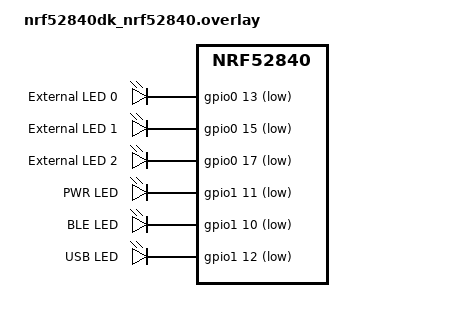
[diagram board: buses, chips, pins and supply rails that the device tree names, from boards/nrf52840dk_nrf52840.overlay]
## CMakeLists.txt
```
cmake_minimum_required(VERSION 3.20.0)

find_package(Zephyr REQUIRED HINTS $ENV{ZEPHYR_BASE})
project(Zephyr-VintageKeyboard)

target_sources(app PRIVATE
        src/main.c
        src/hw.c
        src/vinkey_usb.c
        src/vinkey_ble.c
        src/ax110keys.c)
```

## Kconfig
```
menu "Vintage Keyboard sample options"

config BT_NAME_SHORTENED
	string "Bluetooth advertisement short name"
	default "ElmVntKbd"

endmenu

source "Kconfig.zephyr"
```

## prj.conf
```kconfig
CONFIG_MAIN_STACK_SIZE=2048

CONFIG_USB_DEVICE_STACK_NEXT=y
CONFIG_CDC_ACM_SERIAL_INITIALIZE_AT_BOOT=n
CONFIG_USBD_HID_SUPPORT=y

CONFIG_LOG=y
CONFIG_USBD_LOG_LEVEL_WRN=y
CONFIG_USBD_HID_LOG_LEVEL_WRN=y
CONFIG_UDC_DRIVER_LOG_LEVEL_WRN=y

CONFIG_USE_SEGGER_RTT=y
CONFIG_RTT_CONSOLE=y
CONFIG_UART_CONSOLE=n
CONFIG_LOG_BACKEND_RTT=y

CONFIG_GPIO=y
CONFIG_INPUT=y
CONFIG_INPUT_MODE_SYNCHRONOUS=y

CONFIG_THREAD_NAME=y
CONFIG_THREAD_MONITOR=y

CONFIG_BT=y
CONFIG_BT_PERIPHERAL=y
CONFIG_BT_DEVICE_NAME="Elmot Vintage Kbd(AX110 Mod)"
CONFIG_BT_DEVICE_APPEARANCE=961
CONFIG_BT_SMP=y
CONFIG_BT_SETTINGS=y
CONFIG_FLASH=y
CONFIG_FLASH_MAP=y
CONFIG_NVS=y
CONFIG_SETTINGS=y
CONFIG_BT_DIS=y
CONFIG_BT_DIS_PNP=y
CONFIG_BT_DIS_MODEL_NUMBER_STR="0.2"
CONFIG_BT_DIS_MANUF_NAME_STR="Elmot.xyz"
CONFIG_BT_DIS_PNP_VID_SRC=1
CONFIG_BT_DIS_PNP_VID=0x16C0
CONFIG_BT_DIS_PNP_PID=0x27DB
CONFIG_BT_DIS_PNP_VER=0x0100
CONFIG_BT_KEYS_OVERWRITE_OLDEST=y
CONFIG_BT_SMP_ALLOW_UNAUTH_OVERWRITE=y
CONFIG_BT_BUF_CMD_TX_COUNT=10
CONFIG_BT_BUF_EVT_RX_COUNT=20
CONFIG_BT_L2CAP_TX_BUF_COUNT=5
CONFIG_BT_SMP_SC_ONLY=y

CONFIG_UDC_BUF_POOL_SIZE=2048
CONFIG_SYSTEM_WORKQUEUE_STACK_SIZE=4096
```

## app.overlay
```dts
/ {
	hid_dev_0: hid_dev_0 {
		compatible = "zephyr,hid-device";
		label = "HID0";
		protocol-code = "keyboard";
		in-report-size = <64>;
		in-polling-period-us = <1000>;
	};
};
```

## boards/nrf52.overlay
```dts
#include <zephyr/dt-bindings/input/input-event-codes.h>
#include <zephyr/dt-bindings/input/keymap.h>
#include "../hid.overlay"

&i2c1 {
	status = "okay";
	clock-frequency = <400000>;

	sx1509b: sx1509b@3e {
		compatible = "semtech,sx1509b";
		reg = <0x3e>;
		/* Optional interrupt and reset GPIOs — adjust per your wiring
		 * int-gpios = <&gpio0 11 GPIO_ACTIVE_LOW>;
		 * reset-gpios = <&gpio0 12 GPIO_ACTIVE_LOW>;
		 */
		label = "SX1509B";
		gpio-controller;
		#gpio-cells = <2>;
		ngpios = <16>;
	};
};

/ {

	/* Keyboard scan matrix on SX1509B: currently 3 rows x 2 cols enabled */
	kscan0: kscan {
		compatible = "gpio-kbd-matrix";
		/* Rows are inputs with pull-ups; active when driven low by a pressed key */
		row-gpios = <&sx1509b 8 (GPIO_ACTIVE_LOW | GPIO_PULL_UP)>,
					<&sx1509b 9 (GPIO_ACTIVE_LOW | GPIO_PULL_UP)>,
					<&sx1509b 10 (GPIO_ACTIVE_LOW | GPIO_PULL_UP)>,
					<&sx1509b 11 (GPIO_ACTIVE_LOW | GPIO_PULL_UP)>,
					<&sx1509b 12 (GPIO_ACTIVE_LOW | GPIO_PULL_UP)>,
					<&sx1509b 13 (GPIO_ACTIVE_LOW | GPIO_PULL_UP)>,
					<&sx1509b 14 (GPIO_ACTIVE_LOW | GPIO_PULL_UP)>,
					<&sx1509b 15 (GPIO_ACTIVE_LOW | GPIO_PULL_UP)>;
		/* Cols are outputs, driven low one at a time during scan */
		col-gpios = <&sx1509b 0 GPIO_ACTIVE_LOW>,
					<&sx1509b 1 GPIO_ACTIVE_LOW>,
					<&sx1509b 2 GPIO_ACTIVE_LOW>,
					<&sx1509b 3 GPIO_ACTIVE_LOW>,
					<&sx1509b 4 GPIO_ACTIVE_LOW>,
					<&sx1509b 5 GPIO_ACTIVE_LOW>,
					<&sx1509b 6 GPIO_ACTIVE_LOW>,
					<&sx1509b 7 GPIO_ACTIVE_LOW>;
		/* Use continuous scanning since GPIO expander interrupts may not be available */
		idle-mode = "scan";
		poll-period-ms = <0>;
		poll-timeout-ms = <0>;
		debounce-down-ms = <0>;
		debounce-up-ms = <0>;
	};

	aliases {
		caps-lock-led = &caps_lock_led;
		pwr-on-led = &pwr_on_led;
		ble-connected-led = &ble_connected_led;
		usb-connected-led = &usb_connected_led;
	};
};
```

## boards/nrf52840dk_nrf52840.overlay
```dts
#include <zephyr/dt-bindings/input/input-event-codes.h>
#include <zephyr/dt-bindings/input/keymap.h>
#include "../hid.overlay"

#include "nrf52.overlay"

/ {

	/* Create a grouping for your custom LEDs */
	ext_leds {
		compatible = "gpio-leds";

		caps_lock_led: caps_lock_led {
			gpios = <&gpio0 13 GPIO_ACTIVE_LOW>;
			label = "External LED 0";
		};

		ext_led1: led_1 {
			gpios = <&gpio0 15 GPIO_ACTIVE_LOW>;
			label = "External LED 1";
		};

		ext_led2: led_2 {
			gpios = <&gpio0 17 GPIO_ACTIVE_LOW>;
			label = "External LED 2";
		};

		pwr_on_led: pwr_on_led {
			gpios = <&gpio1 11 GPIO_ACTIVE_LOW>;
			label = "PWR LED";
		};

		ble_connected_led: ble_connected_led {
			gpios = <&gpio1 10 GPIO_ACTIVE_LOW>;
			label = "BLE LED";
		};

		usb_connected_led: usb_connected_led {
			gpios = <&gpio1 12 GPIO_ACTIVE_LOW>;
			label = "USB LED";
		};
	};
	
};
```

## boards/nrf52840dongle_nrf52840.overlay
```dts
#include <zephyr/dt-bindings/input/input-event-codes.h>
#include <zephyr/dt-bindings/input/keymap.h>
#include "../hid.overlay"

#include "nrf5x.overlay"

/ {

	/* Create a grouping for your custom LEDs */
	ext_leds {
		compatible = "gpio-leds";

		caps_lock_led: caps_lock_led {
			gpios = <&gpio0 13 GPIO_ACTIVE_LOW>;
			label = "Caps Lock LED";
		};

		pwr_on_led: pwr_on_led {
			gpios = <&gpio0 20 GPIO_ACTIVE_LOW>;
			label = "PWR LED";
		};

		ble_connected_led: ble_connected_led {
			gpios = <&gpio0 15 GPIO_ACTIVE_LOW>;
			label = "BLE LED";
		};

		usb_connected_led: usb_connected_led {
			gpios = <&gpio0 17 GPIO_ACTIVE_LOW>;
			label = "USB LED";
		};
	};

};

&pinctrl {
	i2c1_default: i2c1_default {
		group1 {
			psels = <NRF_PSEL(TWIM_SDA, 0, 29)>,
					<NRF_PSEL(TWIM_SCL, 0, 31)>;
		};
	};

	i2c1_sleep: i2c1_sleep {
		group1 {
			psels = <NRF_PSEL(TWIM_SDA, 0, 29)>,
					<NRF_PSEL(TWIM_SCL, 0, 31)>;
			low-power-enable;
		};
	};
};
```

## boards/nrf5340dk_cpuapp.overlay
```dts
#include <zephyr/dt-bindings/input/input-event-codes.h>
#include <zephyr/dt-bindings/input/keymap.h>
#include "../hid.overlay"

#include "nrf5x.overlay"

/ {

	/* Create a grouping for your custom LEDs */
	ext_leds {
		compatible = "gpio-leds";

		caps_lock_led: caps_lock_led {
			gpios = <&gpio1 14 GPIO_ACTIVE_LOW>;
			label = "External LED 0";
		};

		ext_led1: led_1 {
			gpios = <&gpio0 15 GPIO_ACTIVE_LOW>;
			label = "External LED 1";
		};

		ext_led2: led_2 {
			gpios = <&gpio0 17 GPIO_ACTIVE_LOW>;
			label = "External LED 2";
		};

		pwr_on_led: pwr_on_led {
			gpios = <&gpio1 10 GPIO_ACTIVE_LOW>;
			label = "PWR LED";
		};

		usb_connected_led: usb_connected_led {
			gpios = <&gpio1 11 GPIO_ACTIVE_LOW>;
			label = "USB LED";
		};

		ble_connected_led: ble_connected_led {
			gpios = <&gpio1 12 GPIO_ACTIVE_LOW>;
			label = "BLE LED";
		};
	};
	
};

&usbd {
	status = "okay";
};
```

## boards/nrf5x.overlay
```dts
#include <zephyr/dt-bindings/input/input-event-codes.h>
#include <zephyr/dt-bindings/input/keymap.h>
#include "../hid.overlay"

&i2c1 {
	status = "okay";
	clock-frequency = <400000>;

	sx1509b: sx1509b@3e {
		compatible = "semtech,sx1509b";
		reg = <0x3e>;
		/* Optional interrupt and reset GPIOs — adjust per your wiring
		 * int-gpios = <&gpio0 11 GPIO_ACTIVE_LOW>;
		 * reset-gpios = <&gpio0 12 GPIO_ACTIVE_LOW>;
		 */
		label = "SX1509B";
		gpio-controller;
		#gpio-cells = <2>;
		ngpios = <16>;
	};
};

/ {

	/* Keyboard scan matrix on SX1509B: currently 3 rows x 2 cols enabled */
	kscan0: kscan {
		compatible = "gpio-kbd-matrix";
		/* Rows are inputs with pull-ups; active when driven low by a pressed key */
		row-gpios = <&sx1509b 8 (GPIO_ACTIVE_LOW | GPIO_PULL_UP)>,
					<&sx1509b 9 (GPIO_ACTIVE_LOW | GPIO_PULL_UP)>,
					<&sx1509b 10 (GPIO_ACTIVE_LOW | GPIO_PULL_UP)>,
					<&sx1509b 11 (GPIO_ACTIVE_LOW | GPIO_PULL_UP)>,
					<&sx1509b 12 (GPIO_ACTIVE_LOW | GPIO_PULL_UP)>,
					<&sx1509b 13 (GPIO_ACTIVE_LOW | GPIO_PULL_UP)>,
					<&sx1509b 14 (GPIO_ACTIVE_LOW | GPIO_PULL_UP)>,
					<&sx1509b 15 (GPIO_ACTIVE_LOW | GPIO_PULL_UP)>;
		/* Cols are outputs, driven low one at a time during scan */
		col-gpios = <&sx1509b 0 GPIO_ACTIVE_LOW>,
					<&sx1509b 1 GPIO_ACTIVE_LOW>,
					<&sx1509b 2 GPIO_ACTIVE_LOW>,
					<&sx1509b 3 GPIO_ACTIVE_LOW>,
					<&sx1509b 4 GPIO_ACTIVE_LOW>,
					<&sx1509b 5 GPIO_ACTIVE_LOW>,
					<&sx1509b 6 GPIO_ACTIVE_LOW>,
					<&sx1509b 7 GPIO_ACTIVE_LOW>;
		/* Use continuous scanning since GPIO expander interrupts may not be available */
		idle-mode = "scan";
		poll-period-ms = <0>;
		poll-timeout-ms = <0>;
		debounce-down-ms = <1>;
		debounce-up-ms = <0>;
	};

	aliases {
		caps-lock-led = &caps_lock_led;
		pwr-on-led = &pwr_on_led;
		ble-connected-led = &ble_connected_led;
		usb-connected-led = &usb_connected_led;
		kscan = &kscan0;
	};
};
```

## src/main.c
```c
/*
 * Copyright (c) 2024 Nordic Semiconductor ASA
 *
 * SPDX-License-Identifier: Apache-2.0
 */

#include "main.h"

LOG_MODULE_REGISTER(main, LOG_LEVEL_INF);

#include <zephyr/dt-bindings/input/input-event-codes.h>

#define KEYS_PER_REPORT (6)

struct kb_report {
	uint8_t modifier;
	uint8_t reserved;
	uint8_t keys[KEYS_PER_REPORT];
} __packed;

struct kb_event {
	uint16_t code;
	int32_t value;
};

K_MSGQ_DEFINE(usb_msgq, sizeof(struct kb_report), 10, 4);
K_MSGQ_DEFINE(ble_msgq, sizeof(struct kb_report), 10, 4);

static struct kb_report report;

static const uint8_t hid_report_desc[] = HID_KEYBOARD_REPORT_DESC();

const struct device* hid_dev = DEVICE_DT_GET_ONE(zephyr_hid_device);
const struct device* kscan_dev = DEVICE_DT_GET(DT_ALIAS(kscan));

static void update_report(uint16_t code, int32_t value)
{
	uint8_t hid_code = input_to_hid(code, value);
	if (hid_code == 0) {
		return;
	}
	vinkey_ble_handle_key(hid_code, (bool)value);
	if (is_modifier(code)) {
		if (value) {
			report.modifier |= hid_code;
		} else {
			report.modifier &= ~hid_code;
		}
	} else {
		if (value) {
			/* Add to report */
			for (int i = 0; i < KEYS_PER_REPORT; i++) {
				if (report.keys[i] == 0) {
					report.keys[i] = hid_code;
					break;
				}
			}
		} else {
			/* Remove from report */
			for (int i = 0; i < KEYS_PER_REPORT; i++) {
				if (report.keys[i] == hid_code) {
					report.keys[i] = 0;
					/* Shift remaining keys left */
					for (int j = i; j < (KEYS_PER_REPORT-1); j++) {
						report.keys[j] = report.keys[j+1];
					}
					report.keys[KEYS_PER_REPORT - 1] = 0;
					break;
				}
			}
		}
	}
}
static uint32_t kb_duration;

static int matrix_row = -1;
static int matrix_col = -1;

static void input_cb(struct input_event *evt, void *user_data)
{
	ARG_UNUSED(user_data);

	if (evt->code == INPUT_ABS_X) {
		matrix_col = evt->value;
	} else if (evt->code == INPUT_ABS_Y) {
		matrix_row = evt->value;
	} else if (evt->code == INPUT_BTN_TOUCH) {
		if (matrix_row >= 0 && matrix_col >= 0) {
			uint16_t code = (matrix_row << 8) | matrix_col;

			update_report(code, evt->value);

			k_msgq_put(&usb_msgq, &report, K_NO_WAIT);
			k_msgq_put(&ble_msgq, &report, K_NO_WAIT);
		}
	}
}

INPUT_CALLBACK_DEFINE(NULL, input_cb, NULL);

static void kb_iface_ready(const struct device *dev, const bool ready)
{
	LOG_INF("HID device %s interface is %s",
		dev->name, ready ? "ready" : "not ready");
	usb_kb_ready = ready;
	update_connect_status();
}

static int kb_get_report(const struct device *dev,
			 const uint8_t type, const uint8_t id, const uint16_t len,
			 uint8_t *const buf)
{
	LOG_WRN("Get Report not implemented, Type %u ID %u", type, id);

	return 0;
}

int kb_set_report(const struct device *dev,
			 const uint8_t type, const uint8_t id, const uint16_t len,
			 const uint8_t *const buf)
{
	if (type != HID_REPORT_TYPE_OUTPUT) {
		LOG_WRN("Unsupported report type");
		return -ENOTSUP;
	}

	gpio_pin_set_dt(&caps_lock_led, buf[0] & (int)BIT(1));
	return 0;
}

/* Idle duration is stored but not used to calculate idle reports. */
static void kb_set_idle(const struct device *dev,
			const uint8_t id, const uint32_t duration)
{
	LOG_INF("Set Idle %u to %u", id, duration);
	kb_duration = duration;
}

static uint32_t kb_get_idle(const struct device *dev, const uint8_t id)
{
	LOG_INF("Get Idle %u to %u", id, kb_duration);
	return kb_duration;
}

static void kb_set_protocol(const struct device *dev, const uint8_t proto)
{
	LOG_INF("Protocol changed to %s",
		proto == 0U ? "Boot Protocol" : "Report Protocol");
}

void kb_output_report(const struct device *dev, const uint16_t len,
			     const uint8_t *const buf)
{
	LOG_HEXDUMP_DBG(buf, len, "o.r.");
	kb_set_report(dev, HID_REPORT_TYPE_OUTPUT, 0U, len, buf);
}

struct hid_device_ops kb_ops = {
	.iface_ready = kb_iface_ready,
	.get_report = kb_get_report,
	.set_report = kb_set_report,
	.set_idle = kb_set_idle,
	.get_idle = kb_get_idle,
	.set_protocol = kb_set_protocol,
	.output_report = kb_output_report,
};

typedef int (*send_report_fn)(const uint8_t *report);

static _Noreturn void kb_usb_send_task(void *p1, void *p2, void *p3)
{
	static struct kb_report queued_report;

	while (true) {
		k_msgq_get(&usb_msgq, &queued_report, K_FOREVER);
		if (usb_kb_ready) {
			hid_device_submit_report(hid_dev, sizeof(struct kb_report), (uint8_t *)&queued_report);
		}
	}
}

static _Noreturn void kb_ble_send_task(void *p1, void *p2, void *p3)
{
	static struct kb_report queued_report;

	while (true) {
		k_msgq_get(&ble_msgq, &queued_report, K_FOREVER);
		vinkey_ble_send_report((uint8_t *)&queued_report, sizeof(struct kb_report));
	}
}

K_THREAD_DEFINE(usb_task_tid, 1024, kb_usb_send_task, NULL, NULL, NULL, 7, 0, 0);
K_THREAD_DEFINE(ble_task_tid, 1024, kb_ble_send_task, NULL, NULL, NULL, 7, 0, 0);

int main(void)
{
	init_hardware();
	if (!device_is_ready(hid_dev)) {
		LOG_ERR("HID Device is not ready");
		failure();
	}

	if (!device_is_ready(kscan_dev)) {
		LOG_ERR("Kscan Device is not ready");
		key_scan_failure();
	}

	int ret = hid_device_register(hid_dev,
	                              hid_report_desc, sizeof(hid_report_desc),
	                              &kb_ops);
	if (ret != 0) {
		LOG_ERR("Failed to register HID Device, %d", ret);
		failure();
	}

	if (IS_ENABLED(CONFIG_USBD_HID_SET_POLLING_PERIOD)) {
		ret = hid_device_set_in_polling(hid_dev, 1000);
		if (ret) {
			LOG_WRN("Failed to set IN report polling period, %d", ret);
		}

		ret = hid_device_set_out_polling(hid_dev, 1000);
		if (ret != 0 && ret != -ENOTSUP) {
			LOG_WRN("Failed to set OUT report polling period, %d", ret);
		}
	}

	vinkey_ble_init();
	vinkey_usb_init();
	LOG_INF("HID keyboard is initialized");

	return 0;
}
```

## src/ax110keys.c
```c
#include <stdbool.h>
#include <stdint.h>

#include "zephyr/usb/class/hid.h"

static bool blueAlt = false;

uint8_t input_to_hid(uint16_t code, int32_t value)
{
    int hid_code = 0;
    switch (code)
    {
    case 0x2:
        blueAlt = (bool)value;
        hid_code = 0;
        break;
    case 0x207: hid_code = HID_KEY_TAB;
        break; //L IND
    case 0x702: hid_code = HID_KEY_1;
        break;
    case 0x602: hid_code = HID_KEY_2;
        break;
    case 0x703: hid_code = HID_KEY_3;
        break;
    case 0x603: hid_code = HID_KEY_4;
        break;
    case 0x705: hid_code = HID_KEY_5;
        break;
    case 0x605: hid_code = HID_KEY_6;
        break;
    case 0x704: hid_code = HID_KEY_7;
        break;
    case 0x604: hid_code = HID_KEY_8;
        break;
    case 0x707: hid_code = HID_KEY_9;
        break;
    case 0x607: hid_code = HID_KEY_0;
        break;
    case 0x706: hid_code = HID_KEY_SLASH;
        break;
    case 0x606: hid_code = HID_KEY_GRAVE;
        break;
    case 0x103: hid_code = HID_KEY_PAGEUP;
        break; //RELOC
    case 0x102: hid_code = HID_KEY_PAGEDOWN;
        break; //INDEX
    case 0x501: hid_code = HID_KEY_Q;
        break;
    case 0x301: hid_code = HID_KEY_W;
        break;
    case 0x502: hid_code = HID_KEY_E;
        break;
    case 0x302: hid_code = HID_KEY_R;
        break;
    case 0x503: hid_code = HID_KEY_T;
        break;
    case 0x303: hid_code = HID_KEY_Y;
        break;
    case 0x505: hid_code = HID_KEY_U;
        break;
    case 0x305: hid_code = HID_KEY_I;
        break;
    case 0x504: hid_code = HID_KEY_O;
        break;
    case 0x304: hid_code = HID_KEY_P;
        break;
    case 0x500: hid_code = HID_KEY_LEFTBRACE;
        break; //Ring A(Swedish OO)
    case 0x300: hid_code = HID_KEY_RIGHTBRACE;
        break; // U umlaut
    case 0x105: hid_code = HID_KEY_BACKSPACE;
        break;
    case 0x01: hid_code = HID_KEY_CAPSLOCK;
        break;
    case 0x201: hid_code = HID_KEY_A;
        break;
    case 0x404: hid_code = HID_KEY_S;
        break;
    case 0x204: hid_code = HID_KEY_D;
        break;
    case 0x402: hid_code = HID_KEY_F;
        break;
    case 0x202: hid_code = HID_KEY_G;
        break;
    case 0x403: hid_code = HID_KEY_H;
        break;
    case 0x203: hid_code = HID_KEY_J;
        break;
    case 0x405: hid_code = HID_KEY_K;
        break;
    case 0x205: hid_code = HID_KEY_L;
        break;
    case 0x400: hid_code = HID_KEY_SEMICOLON;
        break; // O umlaut
    case 0x200: hid_code = HID_KEY_APOSTROPHE;
        break; //A umlaut
    case 0x601: hid_code = HID_KEY_BACKSLASH;
        break; //*
    case 0x101: hid_code = HID_KEY_ENTER;
        break;
    case 0x401: hid_code = HID_KEY_Z;
        break;
    case 0x406: hid_code = HID_KEY_X;
        break;
    case 0x407: hid_code = HID_KEY_C;
        break;
    case 0x507: hid_code = HID_KEY_V;
        break;
    case 0x307: hid_code = HID_KEY_B;
        break;
    case 0x506: hid_code = HID_KEY_N;
        break;
    case 0x306: hid_code = HID_KEY_M;
        break;
    case 0x700: hid_code = HID_KEY_COMMA;
        break;
    case 0x600: hid_code = HID_KEY_DOT;
        break;
    case 0x701: hid_code = HID_KEY_MINUS;
        break;
    case 0x00: hid_code = HID_KBD_MODIFIER_RIGHT_SHIFT;
        break; //Both shifts
    case 0x107: hid_code = HID_KBD_MODIFIER_LEFT_CTRL;
        break; //Green CODE
    case 0x104: hid_code = HID_KBD_MODIFIER_LEFT_ALT;
        break; // WORD OUT
    case 0x100: hid_code = HID_KEY_SPACE;
        break;
    case 0x106: hid_code = HID_KEY_DELETE;
        break; // delete or R ALT?
    default: hid_code = 0;
    }
    if (blueAlt)
    {
        switch (hid_code)
        {
        case HID_KEY_TAB: hid_code = HID_KEY_ESC;//L IND
            break;
        case HID_KEY_1: hid_code = HID_KEY_F1;
            break;
        case HID_KEY_2: hid_code = HID_KEY_F2;
            break;
        case HID_KEY_3: hid_code = HID_KEY_F3;
            break;
        case HID_KEY_4: hid_code = HID_KEY_F4;
            break;
        case HID_KEY_5: hid_code = HID_KEY_F5;
            break;
        case HID_KEY_6: hid_code = HID_KEY_F6;
            break;
        case HID_KEY_7: hid_code = HID_KEY_F7;
            break;
        case HID_KEY_8: hid_code = HID_KEY_F8;
            break;
        case HID_KEY_9: hid_code = HID_KEY_F9;
            break;
        case HID_KEY_0: hid_code = HID_KEY_F10;
            break;
        case HID_KEY_SLASH: hid_code = HID_KEY_F11;
            break;
        case HID_KEY_GRAVE: hid_code = HID_KEY_F12;
            break;
        case HID_KEY_PAGEUP: hid_code = HID_KEY_HOME;//RELOC
            break;
        case HID_KEY_PAGEDOWN: hid_code = HID_KEY_END;//INDEX
            break;
        case HID_KEY_W: hid_code = HID_KEY_UP;
            break;
        case HID_KEY_A: hid_code = HID_KEY_LEFT;
            break;
        case HID_KEY_S: hid_code = HID_KEY_DOWN;
            break;
        case HID_KEY_D: hid_code = HID_KEY_RIGHT;
            break;
        case HID_KEY_V: hid_code = HID_KEY_HASH;
            break;
        }
    }
    return hid_code;
}

bool is_modifier(uint16_t code)
{
    switch (code)
    {
    //case 0x2: return HID_KEY_ALT; must be modifying other buttons
    //	case 0x103: return HID_KEY_RELOC
    //	case 0x102: return HID_KEY_INDEX
    //    case 0x106:// delete or R ALT?
    case 0x00: //Both shifts
    case 0x107: //Green CODE
    case 0x104: // WORD OUT
        return true;
    default: return false;
    }
}
```

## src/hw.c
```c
#include "main.h"

const struct gpio_dt_spec caps_lock_led = GPIO_DT_SPEC_GET(DT_ALIAS(caps_lock_led), gpios);
const struct gpio_dt_spec pwr_on_led = GPIO_DT_SPEC_GET(DT_ALIAS(pwr_on_led), gpios);
const struct gpio_dt_spec ble_connected_led = GPIO_DT_SPEC_GET(DT_ALIAS(ble_connected_led), gpios);
const struct gpio_dt_spec usb_connected_led = GPIO_DT_SPEC_GET(DT_ALIAS(usb_connected_led), gpios);

LOG_MODULE_REGISTER(hw, LOG_LEVEL_INF);

static void busy_wait_cycles(uint32_t cycles)
{
    // Simple busy-wait loop
    // Each iteration takes approximately 4 cycles (load, decrement, compare, branch)
    for (volatile uint32_t i = 0; i < cycles / 4; i++)
    {
        __asm__ volatile ("nop");
    }
}

static void busy_wait_ms(uint32_t ms)
{
    // At 32MHz: 32,000 cycles per millisecond
    uint32_t cycles = ms * 32000;
    busy_wait_cycles(cycles);
}

_Noreturn void failure()
{
    gpio_pin_set_dt(&pwr_on_led, false);
    gpio_pin_set_dt(&usb_connected_led, false);
    gpio_pin_set_dt(&ble_connected_led, false);

    while (true)
    {
        //RED SOS pattern
        for (int i = 0; i < 3; i++)
        {
            gpio_pin_set_dt(&usb_connected_led, true);
            busy_wait_ms(100);
            gpio_pin_set_dt(&usb_connected_led, false);
            busy_wait_ms(100);
        }
        busy_wait_ms(200);
        for (int i = 0; i < 3; i++)
        {
            gpio_pin_set_dt(&usb_connected_led, true);
            busy_wait_ms(200);
            gpio_pin_set_dt(&usb_connected_led, false);
            busy_wait_ms(200);
        }
        busy_wait_ms(200);
    }
}

_Noreturn void key_scan_failure()
{
    while (true)
    {
        gpio_pin_set_dt(&pwr_on_led, false);
        gpio_pin_set_dt(&usb_connected_led, true);
        gpio_pin_set_dt(&ble_connected_led, false);

        busy_wait_ms(250);
        gpio_pin_set_dt(&pwr_on_led, false);
        gpio_pin_set_dt(&usb_connected_led, true);
        gpio_pin_set_dt(&ble_connected_led, true);
        busy_wait_ms(500);
        gpio_pin_set_dt(&pwr_on_led, false);
        gpio_pin_set_dt(&usb_connected_led, false);
        gpio_pin_set_dt(&ble_connected_led, true);
        busy_wait_ms(250);
    }
}


#ifdef NRF52840_XXAA
/**
 * @brief Ensures that the output voltage is set to the specified value.
 *
 * This method checks whether the REGOUT0 configuration corresponds to the specified voltage.
 * If the configuration differs, it reconfigures the voltage setting in the UICR (User Information Configuration Registers),
 * programs the change, and resets the system to apply the new setting.
 *
 * Available UICR_REGOUT0_VOUT values:
 * - UICR_REGOUT0_VOUT_1V8  (0) - 1.8V
 * - UICR_REGOUT0_VOUT_2V1  (1) - 2.1V
 * - UICR_REGOUT0_VOUT_2V4  (2) - 2.4V
 * - UICR_REGOUT0_VOUT_2V7  (3) - 2.7V
 * - UICR_REGOUT0_VOUT_3V0  (4) - 3.0V
 * - UICR_REGOUT0_VOUT_3V3  (5) - 3.3V
 *
 * @param voltage The desired output voltage to be configured. The value should match the UICR register's expected format.
 */
static void ensure_voltage(unsigned long voltage)
{
    // Check if REGOUT0 is NOT correct
    if ((NRF_UICR->REGOUT0 & UICR_REGOUT0_VOUT_Msk) !=
        (voltage << UICR_REGOUT0_VOUT_Pos))
    {
        // Enable Write to NVMC
        NRF_NVMC->CONFIG = NVMC_CONFIG_WEN_Wen;
        while (NRF_NVMC->READY == NVMC_READY_READY_Busy)
        {
        }

        // Set REGOUT0 to 3.0V
        NRF_UICR->REGOUT0 = (NRF_UICR->REGOUT0 & ~UICR_REGOUT0_VOUT_Msk) |
            (voltage << UICR_REGOUT0_VOUT_Pos);

        NRF_NVMC->CONFIG = NVMC_CONFIG_WEN_Ren;
        while (NRF_NVMC->READY == NVMC_READY_READY_Busy)
        {
        }

        // A System Reset is required for the change to take effect
        NVIC_SystemReset();
    }
}
#endif

#ifdef NRF5340_XXAA_APPLICATION
/**
 * @brief Ensures that the output voltage is set to the specified value.
 *
 * This method checks whether the VREGHVOUT configuration corresponds to the specified voltage.
 * If the configuration differs, it reconfigures the voltage setting in the UICR (User Information Configuration Registers),
 * programs the change, and resets the system to apply the new setting.
 *
 * Available UICR_VREGHVOUT_VREGHVOUT values for nRF5340:
 * - UICR_VREGHVOUT_VREGHVOUT_1V8  (0) - 1.8V
 * - UICR_VREGHVOUT_VREGHVOUT_2V1  (1) - 2.1V
 * - UICR_VREGHVOUT_VREGHVOUT_2V4  (2) - 2.4V
 * - UICR_VREGHVOUT_VREGHVOUT_2V7  (3) - 2.7V
 * - UICR_VREGHVOUT_VREGHVOUT_3V0  (4) - 3.0V
 * - UICR_VREGHVOUT_VREGHVOUT_3V3  (5) - 3.3V
 *
 * @param voltage The desired output voltage to be configured. The value should match the UICR register's expected format.
 */
static void ensure_voltage(unsigned long voltage)
{
    // Check if VREGHVOUT is NOT correct
    if ((NRF_UICR->VREGHVOUT & UICR_VREGHVOUT_VREGHVOUT_Msk) !=
        (voltage << UICR_VREGHVOUT_VREGHVOUT_Pos))
    {
        // Enable Write to NVMC
        NRF_NVMC->CONFIG = NVMC_CONFIG_WEN_Wen;
        while (NRF_NVMC->READY == NVMC_READY_READY_Busy)
        {
        }

        // Set VREGHVOUT to the desired voltage
        NRF_UICR->VREGHVOUT = (NRF_UICR->VREGHVOUT & ~UICR_VREGHVOUT_VREGHVOUT_Msk) |
            (voltage << UICR_VREGHVOUT_VREGHVOUT_Pos);

        NRF_NVMC->CONFIG = NVMC_CONFIG_WEN_Ren;
        while (NRF_NVMC->READY == NVMC_READY_READY_Busy)
        {
        }

        // A System Reset is required for the change to take effect
        NVIC_SystemReset();
    }
}
#endif


static int prepare_led(const struct gpio_dt_spec* led, bool active)
{
    if (!gpio_is_ready_dt(led))
    {
        LOG_ERR("LED device %s is not ready", led->port->name);
        return -EIO;
    }

    int ret = gpio_pin_configure_dt(led, active ? GPIO_OUTPUT_ACTIVE : GPIO_OUTPUT_INACTIVE);
    if (ret != 0)
    {
        LOG_ERR("Failed to configure the %s pin, %d", led->port->name, ret);
        return -EIO;
    }
    return 0;
}


void init_hardware()
{
#ifdef NRF52840_XXAA
    ensure_voltage(UICR_REGOUT0_VOUT_3V0);
#endif
#ifdef NRF5340_XXAA_APPLICATION
    ensure_voltage(UICR_VREGHVOUT_VREGHVOUT_3V0);
#endif


    prepare_led(&pwr_on_led, true);
    prepare_led(&caps_lock_led, false);
    prepare_led(&ble_connected_led, false);
    prepare_led(&usb_connected_led, false);

}

void update_connect_status()
{
    gpio_pin_set_dt(&usb_connected_led, usb_kb_ready);
    gpio_pin_set_dt(&ble_connected_led, ble_kb_ready);
    gpio_pin_set_dt(&pwr_on_led, !(ble_kb_ready || usb_kb_ready));
}

_Noreturn void arch_system_halt(unsigned int reason)
{
    ARG_UNUSED(reason);
    failure();
}
```

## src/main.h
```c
#pragma once

#include <zephyr/device.h>
#include <zephyr/drivers/gpio.h>
#include <zephyr/input/input.h>

#include <zephyr/usb/usbd.h>
#include <zephyr/usb/class/usbd_hid.h>

#include <zephyr/logging/log.h>

extern const struct gpio_dt_spec caps_lock_led;
extern const struct gpio_dt_spec pwr_on_led;
extern const struct gpio_dt_spec ble_connected_led;
extern const struct gpio_dt_spec usb_connected_led;

_Noreturn void failure();
_Noreturn void key_scan_failure();
void init_hardware();

typedef void (*vinkey_ble_output_report_cb_t)(const uint8_t *report, uint16_t len);
void vinkey_ble_init();
void vinkey_ble_send_report(const uint8_t *report, uint16_t len);
void vinkey_ble_handle_key(uint8_t hid_code, bool pressed);

extern volatile bool ble_kb_ready;
extern volatile bool usb_kb_ready;

void update_connect_status();

int kb_set_report(const struct device *dev,
             uint8_t type, uint8_t id, uint16_t len,
             const uint8_t * buf);

uint8_t input_to_hid(uint16_t code, int32_t value);
bool is_modifier(uint16_t code);

void vinkey_usb_init();
```

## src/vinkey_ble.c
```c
#include <zephyr/types.h>
#include <stddef.h>
#include <string.h>
#include <zephyr/kernel.h>
#include <zephyr/bluetooth/bluetooth.h>
#include <zephyr/bluetooth/hci.h>
#include <zephyr/bluetooth/conn.h>
#include <zephyr/bluetooth/uuid.h>
#include <zephyr/bluetooth/gatt.h>
#include <zephyr/usb/class/hid.h>
#include <zephyr/logging/log.h>
#include <zephyr/settings/settings.h>


#include "main.h"

#include "zephyr/usb/class/usbd_hid.h"

LOG_MODULE_REGISTER(vinkey_ble, LOG_LEVEL_INF);

#define HIDS_NORMALLY_CONNECTABLE BIT(1)

struct hids_info {
	uint16_t version;
	uint8_t code;
	uint8_t flags;
} __packed;

struct hids_report {
	uint8_t id;
	uint8_t type;
} __packed;

static struct hids_info info = {
	.version = 0x0111,
	.code = 0x00,
	.flags = HIDS_NORMALLY_CONNECTABLE,
};

enum {
	HIDS_INPUT = 0x01,
	HIDS_OUTPUT = 0x02,
	HIDS_FEATURE = 0x03,
};

static struct hids_report input_report_ref = {
	.id = 0x00,
	.type = HIDS_INPUT,
};

static struct hids_report output_report_ref = {
	.id = 0x00,
	.type = HIDS_OUTPUT,
};

static const uint8_t report_map[] = HID_KEYBOARD_REPORT_DESC();

static ssize_t read_info(struct bt_conn *conn,
			  const struct bt_gatt_attr *attr, void *buf,
			  uint16_t len, uint16_t offset)
{
	return bt_gatt_attr_read(conn, attr, buf, len, offset, attr->user_data,
				 sizeof(struct hids_info));
}

static ssize_t read_report_map(struct bt_conn *conn,
			       const struct bt_gatt_attr *attr, void *buf,
			       uint16_t len, uint16_t offset)
{
	return bt_gatt_attr_read(conn, attr, buf, len, offset, report_map,
				 sizeof(report_map));
}

static ssize_t read_report_ref(struct bt_conn *conn,
			   const struct bt_gatt_attr *attr, void *buf,
			   uint16_t len, uint16_t offset)
{
	return bt_gatt_attr_read(conn, attr, buf, len, offset, attr->user_data,
				 sizeof(struct hids_report));
}

static void input_ccc_changed(const struct bt_gatt_attr *attr, uint16_t value)
{
	LOG_INF("HIDS input CCC changed: %u", value);
}

static ssize_t read_input_report(struct bt_conn *conn,
				 const struct bt_gatt_attr *attr, void *buf,
				 uint16_t len, uint16_t offset)
{
	return bt_gatt_attr_read(conn, attr, buf, len, offset, NULL, 0);
}

static ssize_t write_output_report(struct bt_conn *conn,
				  const struct bt_gatt_attr *attr,
				  const void *buf, uint16_t len, uint16_t offset,
				  uint8_t flags)
{
	LOG_INF("HIDS output report write: len %u", len);

	kb_set_report(NULL, HID_REPORT_TYPE_OUTPUT, 0, len, buf);

	return len;
}

BT_GATT_SERVICE_DEFINE(kbd_svc,
	BT_GATT_PRIMARY_SERVICE(BT_UUID_HIDS),
	BT_GATT_CHARACTERISTIC(BT_UUID_HIDS_INFO, BT_GATT_CHRC_READ,
			       BT_GATT_PERM_READ, read_info, NULL, &info),
	BT_GATT_CHARACTERISTIC(BT_UUID_HIDS_REPORT_MAP, BT_GATT_CHRC_READ,
			       BT_GATT_PERM_READ, read_report_map, NULL, NULL),
	BT_GATT_CHARACTERISTIC(BT_UUID_HIDS_REPORT,
			       BT_GATT_CHRC_READ | BT_GATT_CHRC_NOTIFY,
			       BT_GATT_PERM_READ_ENCRYPT,
			       read_input_report, NULL, NULL),
	BT_GATT_CCC(input_ccc_changed,
		    BT_GATT_PERM_READ_ENCRYPT | BT_GATT_PERM_WRITE_ENCRYPT),
	BT_GATT_DESCRIPTOR(BT_UUID_HIDS_REPORT_REF, BT_GATT_PERM_READ,
			   read_report_ref, NULL, &input_report_ref),
	BT_GATT_CHARACTERISTIC(BT_UUID_HIDS_REPORT,
			       BT_GATT_CHRC_READ | BT_GATT_CHRC_WRITE |
			       BT_GATT_CHRC_WRITE_WITHOUT_RESP,
			       BT_GATT_PERM_READ_ENCRYPT |
			       BT_GATT_PERM_WRITE_ENCRYPT,
			       read_input_report, write_output_report, NULL),
	BT_GATT_DESCRIPTOR(BT_UUID_HIDS_REPORT_REF, BT_GATT_PERM_READ,
			   read_report_ref, NULL, &output_report_ref),
);

static const struct bt_data ad[] = {
	BT_DATA_BYTES(BT_DATA_GAP_APPEARANCE,

			  (CONFIG_BT_DEVICE_APPEARANCE >> 0) & 0xff,
			  (CONFIG_BT_DEVICE_APPEARANCE >> 8) & 0xff),
	BT_DATA_BYTES(BT_DATA_FLAGS, (BT_LE_AD_GENERAL | BT_LE_AD_NO_BREDR)),
	BT_DATA_BYTES(BT_DATA_UUID16_ALL, BT_UUID_16_ENCODE(BT_UUID_HIDS_VAL))
};

static const struct bt_data sd[] = {
	BT_DATA(BT_DATA_NAME_COMPLETE, CONFIG_BT_DEVICE_NAME, (sizeof(CONFIG_BT_DEVICE_NAME) - 1)),
};

static struct bt_conn *current_conn;

volatile bool ble_kb_ready = false;


static void connected(struct bt_conn *conn, uint8_t err)
{
	char addr[BT_ADDR_LE_STR_LEN];

	bt_addr_le_to_str(bt_conn_get_dst(conn), addr, sizeof(addr));

	if (err) {
		LOG_ERR("Failed to connect to %s (%u)", addr, err);
		return;
	}

	LOG_INF("Connected %s", addr);
	current_conn = bt_conn_ref(conn);
	ble_kb_ready = true;
	update_connect_status();
}

bool advertising_start()
{
	bt_le_adv_stop();
	const int err = bt_le_adv_start(BT_LE_ADV_CONN_FAST_1, ad, ARRAY_SIZE(ad), sd,ARRAY_SIZE(sd));
	if (err) {
		LOG_ERR("Advertising failed to start (err %d)", err);
		failure();
	}

	LOG_INF("Advertising successfully started");
	return false;
}


static void disconnected(struct bt_conn *conn, uint8_t reason)
{
	char addr[BT_ADDR_LE_STR_LEN];

	bt_addr_le_to_str(bt_conn_get_dst(conn), addr, sizeof(addr));

	LOG_INF("Disconnected from %s (reason %x)", addr, reason);
	if (current_conn == conn) {
		bt_conn_unref(current_conn);
		current_conn = NULL;
	}
}

static void security_changed(struct bt_conn *conn, bt_security_t level,
			     enum bt_security_err err)
{
	char addr[BT_ADDR_LE_STR_LEN];

	bt_addr_le_to_str(bt_conn_get_dst(conn), addr, sizeof(addr));

	if (!err) { // NOLINT(*-branch-clone)
		LOG_INF("Security changed: %s level %u", addr, level);
	} else {
		LOG_ERR("Security failed: %s level %u err %d", addr, level, err);
	}
}

void conn_recycled()
{
	ble_kb_ready = false;
	update_connect_status();
	advertising_start();
}

BT_CONN_CB_DEFINE(conn_callbacks) = {
	.connected = connected,
	.disconnected = disconnected,
	.security_changed = security_changed,
	.recycled = conn_recycled,
};

static uint32_t passkey_entered;
static uint8_t passkey_digit_count;
static bool passkey_entry_mode;

static void auth_passkey_display(struct bt_conn *conn, unsigned int passkey)
{
	char addr[BT_ADDR_LE_STR_LEN];

	bt_addr_le_to_str(bt_conn_get_dst(conn), addr, sizeof(addr));

	LOG_INF("Passkey for %s: %06u", addr, passkey);
}

static void auth_passkey_entry(struct bt_conn *conn)
{
	char addr[BT_ADDR_LE_STR_LEN];

	bt_addr_le_to_str(bt_conn_get_dst(conn), addr, sizeof(addr));

	LOG_INF("Enter passkey for %s", addr);
	passkey_entered = 0;
	passkey_digit_count = 0;
	passkey_entry_mode = true;
}

static void auth_cancel(struct bt_conn *conn)
{
	char addr[BT_ADDR_LE_STR_LEN];

	bt_addr_le_to_str(bt_conn_get_dst(conn), addr, sizeof(addr));

	LOG_INF("Pairing cancelled: %s", addr);
	passkey_entry_mode = false;
}

static struct bt_conn_auth_cb auth_cb_display = {
	.passkey_display = auth_passkey_display,
	.passkey_entry = auth_passkey_entry,
	.cancel = auth_cancel,
};

void vinkey_ble_handle_key(uint8_t hid_code, bool pressed)
{
	if (!pressed || !passkey_entry_mode || !current_conn) {
		return;
	}

	if (hid_code >= HID_KEY_1 && hid_code <= HID_KEY_0) {
		/* Numbers 1-9 then 0 */
		uint8_t digit;
		if (hid_code == HID_KEY_0) {
			digit = 0;
		} else {
			digit = hid_code - HID_KEY_1 + 1;
		}

		if (passkey_digit_count < 6) {
			passkey_entered = passkey_entered * 10 + digit;
			passkey_digit_count++;
			LOG_INF("Passkey digit entered: %u (total: %u)", digit, passkey_entered);
		}
	} else if (hid_code == HID_KEY_ENTER) {
		/* Enter */
		LOG_INF("Passkey submitted: %06u", passkey_entered);
		bt_conn_auth_passkey_entry(current_conn, passkey_entered);
		passkey_entry_mode = false;
	} else if (hid_code == HID_KEY_BACKSPACE) {
		/* Backspace */
		if (passkey_digit_count > 0) {
			passkey_entered /= 10;
			passkey_digit_count--;
			LOG_INF("Passkey digit removed (total: %u)", passkey_entered);
		}
	}
}

void vinkey_ble_init()
{
	int err;

	err = bt_enable(NULL);
	if (err) {
		LOG_ERR("Bluetooth init failed (err %d)", err);
		failure();
	}

	LOG_INF("Bluetooth initialized");

	if (IS_ENABLED(CONFIG_SETTINGS)) {
		settings_load();
	}

	bt_conn_auth_cb_register(&auth_cb_display);

	advertising_start();
}

void vinkey_ble_send_report(const uint8_t *report, uint16_t len)
{
	/* Index 6 is the report characteristic value in kbd_svc */
	bt_gatt_notify(NULL, &kbd_svc.attrs[6], report, len);
}
```

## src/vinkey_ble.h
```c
#pragma once

#include <stdint.h>

typedef void (*vinkey_ble_output_report_cb_t)(const uint8_t *report, uint16_t len);
void vinkey_ble_init();
void vinkey_ble_send_report(const uint8_t *report, uint16_t len);
void vinkey_ble_handle_key(uint8_t hid_code, bool pressed);

int kb_set_report(const struct device *dev,
             uint8_t type, uint8_t id, uint16_t len,
             const uint8_t * buf);
```

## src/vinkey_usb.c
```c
/*
 * Copyright (c) 2023 Nordic Semiconductor ASA
 *
 * SPDX-License-Identifier: Apache-2.0
 */

#include "main.h"
#include <zephyr/usb/usbd.h>

#include <zephyr/logging/log.h>
LOG_MODULE_REGISTER(usbd_vinkey_config);

/* By default, do not register the USB DFU class DFU mode instance. */
static const char* const blocklist[] = {
    "dfu_dfu",
    NULL,
};

#define CONFIG_VINKEY_USBD_VID (CONFIG_BT_DIS_PNP_VID)
#define CONFIG_VINKEY_USBD_PID (CONFIG_BT_DIS_PNP_PID)
#define CONFIG_SAMPLE_USBD_MAX_POWER (125)

/*
 * Instantiate a context named vinkey_usbd using the default USB device
 * controller, the project vendor ID, and the product ID.
 */
USBD_DEVICE_DEFINE(vinkey_usbd,
                   DEVICE_DT_GET(DT_NODELABEL(zephyr_udc0)),
                   CONFIG_VINKEY_USBD_VID, CONFIG_VINKEY_USBD_PID);

USBD_DESC_LANG_DEFINE(vinkey_lang);
USBD_DESC_MANUFACTURER_DEFINE(vinkey_mfr, CONFIG_BT_DIS_MANUF_NAME_STR);
USBD_DESC_PRODUCT_DEFINE(vinkey_product, CONFIG_BT_DEVICE_NAME "[USB]");
IF_ENABLED(CONFIG_HWINFO, (USBD_DESC_SERIAL_NUMBER_DEFINE(vinkey_sn)));

USBD_DESC_CONFIG_DEFINE(fs_cfg_desc, "FS Configuration");
USBD_DESC_CONFIG_DEFINE(hs_cfg_desc, "HS Configuration");

static const uint8_t attributes = (0);

/* Full speed configuration */
USBD_CONFIGURATION_DEFINE(vinkey_fs_config,
                          attributes,
                          CONFIG_SAMPLE_USBD_MAX_POWER, &fs_cfg_desc);

/* High speed configuration */
USBD_CONFIGURATION_DEFINE(vinkey_hs_config,
                          attributes,
                          CONFIG_SAMPLE_USBD_MAX_POWER, &hs_cfg_desc);

static void vinkey_fix_code_triple(struct usbd_context* uds_ctx,
                                   const enum usbd_speed speed)
{
    usbd_device_set_code_triple(uds_ctx, speed, 0, 0, 0);
}

volatile bool usb_kb_ready = false;

static void msg_cb(struct usbd_context* const usbd_ctx,
                   const struct usbd_msg* const msg)
{
    LOG_INF("USBD message: %s", usbd_msg_type_string(msg->type));

    if (msg->type == USBD_MSG_CONFIGURATION)
    {
        LOG_INF("\tConfiguration value %d", msg->status);
    }

    if (usbd_can_detect_vbus(usbd_ctx))
    {
        if (msg->type == USBD_MSG_VBUS_READY)
        {
            if (usbd_enable(usbd_ctx))
            {
                LOG_ERR("Failed to enable device support");
            }
        }

        if (msg->type == USBD_MSG_VBUS_REMOVED)
        {
            if (usbd_disable(usbd_ctx))
            {
                LOG_ERR("Failed to disable device support");
            }
        }
    }
}

/*
 * This function is similar to vinkey_usbd_init_device(), but does not
 * initialize the device. It allows the application to set additional features,
 * such as additional descriptors.
 */
struct usbd_context* vinkey_usbd_setup_device()
{
    int err;

    err = usbd_add_descriptor(&vinkey_usbd, &vinkey_lang);
    if (err)
    {
        LOG_ERR("Failed to initialize language descriptor (%d)", err);
        return NULL;
    }

    err = usbd_add_descriptor(&vinkey_usbd, &vinkey_mfr);
    if (err)
    {
        LOG_ERR("Failed to initialize manufacturer descriptor (%d)", err);
        return NULL;
    }

    err = usbd_add_descriptor(&vinkey_usbd, &vinkey_product);
    if (err)
    {
        LOG_ERR("Failed to initialize product descriptor (%d)", err);
        return NULL;
    }

    IF_ENABLED(CONFIG_HWINFO, (
                   err = usbd_add_descriptor(&vinkey_usbd, &vinkey_sn);
               ))
    if (err)
    {
        LOG_ERR("Failed to initialize SN descriptor (%d)", err);
        return NULL;
    }

    if (USBD_SUPPORTS_HIGH_SPEED &&
        usbd_caps_speed(&vinkey_usbd) == USBD_SPEED_HS)
    {
        err = usbd_add_configuration(&vinkey_usbd, USBD_SPEED_HS,
                                     &vinkey_hs_config);
        if (err)
        {
            LOG_ERR("Failed to add High-Speed configuration");
            return NULL;
        }

        err = usbd_register_all_classes(&vinkey_usbd, USBD_SPEED_HS, 1,
                                        blocklist);
        if (err)
        {
            LOG_ERR("Failed to add register classes");
            return NULL;
        }

        vinkey_fix_code_triple(&vinkey_usbd, USBD_SPEED_HS);
    }

    err = usbd_add_configuration(&vinkey_usbd, USBD_SPEED_FS,
                                 &vinkey_fs_config);
    if (err)
    {
        LOG_ERR("Failed to add Full-Speed configuration");
        return NULL;
    }

    err = usbd_register_all_classes(&vinkey_usbd, USBD_SPEED_FS, 1, blocklist);
    if (err)
    {
        LOG_ERR("Failed to add register classes");
        return NULL;
    }

    vinkey_fix_code_triple(&vinkey_usbd, USBD_SPEED_FS);
    usbd_self_powered(&vinkey_usbd, attributes & USB_SCD_SELF_POWERED);

    err = usbd_msg_register_cb(&vinkey_usbd, msg_cb);
    if (err)
    {
        LOG_ERR("Failed to register message callback");
        return NULL;
    }

    return &vinkey_usbd;
}


/*
 * This function configures and initializes a USB device. It configures the
 * device context, string descriptors, USB device configuration,
 * registers class instances, and finally initializes the USB device.
 * It is limited to a single device with a single configuration instantiated.
 *
 * It returns the configured and initialized USB device context on success,
 * otherwise it returns NULL.
 */
void vinkey_usbd_init_device()
{
    if (vinkey_usbd_setup_device() == NULL)
    {
        failure();
    }
    if (usbd_init(&vinkey_usbd))
    {
        LOG_ERR("Failed to initialize device support");
        failure();
    }
}

void vinkey_usb_init()
{
    vinkey_usbd_init_device();

    if (!usbd_can_detect_vbus(&vinkey_usbd))
    {
        if (usbd_enable(&vinkey_usbd))
        {
            LOG_ERR("Failed to enable device support");
            failure();
        }
    }
}
```

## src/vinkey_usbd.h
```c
#pragma once

#include <stdint.h>
#include <zephyr/usb/usbd.h>

/*
 * This function configures and initializes a USB device. It configures the
 * device context, string descriptors, USB device configuration,
 * registers class instances, and finally initializes the USB device.
 * It is limited to a single device with a single configuration instantiated.
 *
 * It returns the configured and initialized USB device context on success,
 * otherwise it returns NULL.
 */
struct usbd_context *vinkey_usbd_init_device(usbd_msg_cb_t msg_cb);

/*
 * This function is similar to vinkey_usbd_init_device(), but does not
 * initialize the device. It allows the application to set additional features,
 * such as additional descriptors.
 */
struct usbd_context *vinkey_usbd_setup_device(usbd_msg_cb_t msg_cb);
```

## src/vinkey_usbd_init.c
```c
/*
 * Copyright (c) 2023 Nordic Semiconductor ASA
 *
 * SPDX-License-Identifier: Apache-2.0
 */

#include <stdint.h>

#include <zephyr/device.h>
#include <zephyr/usb/usbd.h>

#include <zephyr/logging/log.h>
LOG_MODULE_REGISTER(usbd_vinkey_config);

/* By default, do not register the USB DFU class DFU mode instance. */
static const char *const blocklist[] = {
	"dfu_dfu",
	NULL,
};

#define CONFIG_VINKEY_USBD_VID (CONFIG_BT_DIS_PNP_VID)
#define CONFIG_VINKEY_USBD_PID (CONFIG_BT_DIS_PNP_PID)
#define CONFIG_SAMPLE_USBD_MAX_POWER (125)

/* doc device instantiation start */
/*
 * Instantiate a context named vinkey_usbd using the default USB device
 * controller, the project vendor ID, and the product ID.
 */
USBD_DEVICE_DEFINE(vinkey_usbd,
		   DEVICE_DT_GET(DT_NODELABEL(zephyr_udc0)),
		   CONFIG_VINKEY_USBD_VID, CONFIG_VINKEY_USBD_PID);
/* doc device instantiation end */

/* doc string instantiation start */
USBD_DESC_LANG_DEFINE(vinkey_lang);
USBD_DESC_MANUFACTURER_DEFINE(vinkey_mfr, CONFIG_BT_DIS_MANUF_NAME_STR);
USBD_DESC_PRODUCT_DEFINE(vinkey_product, CONFIG_BT_DEVICE_NAME);
IF_ENABLED(CONFIG_HWINFO, (USBD_DESC_SERIAL_NUMBER_DEFINE(vinkey_sn)));

/* doc string instantiation end */

USBD_DESC_CONFIG_DEFINE(fs_cfg_desc, "FS Configuration");
USBD_DESC_CONFIG_DEFINE(hs_cfg_desc, "HS Configuration");

/* doc configuration instantiation start */
static const uint8_t attributes = (0);

/* Full speed configuration */
USBD_CONFIGURATION_DEFINE(vinkey_fs_config,
			  attributes,
			  CONFIG_SAMPLE_USBD_MAX_POWER, &fs_cfg_desc);

/* High speed configuration */
USBD_CONFIGURATION_DEFINE(vinkey_hs_config,
			  attributes,
			  CONFIG_SAMPLE_USBD_MAX_POWER, &hs_cfg_desc);
/* doc configuration instantiation end */

static void vinkey_fix_code_triple(struct usbd_context *uds_ctx,
				   const enum usbd_speed speed)
{
	usbd_device_set_code_triple(uds_ctx, speed, 0, 0, 0);
}

struct usbd_context *vinkey_usbd_setup_device(usbd_msg_cb_t msg_cb)
{
	int err;

	/* doc add string descriptor start */
	err = usbd_add_descriptor(&vinkey_usbd, &vinkey_lang);
	if (err) {
		LOG_ERR("Failed to initialize language descriptor (%d)", err);
		return NULL;
	}

	err = usbd_add_descriptor(&vinkey_usbd, &vinkey_mfr);
	if (err) {
		LOG_ERR("Failed to initialize manufacturer descriptor (%d)", err);
		return NULL;
	}

	err = usbd_add_descriptor(&vinkey_usbd, &vinkey_product);
	if (err) {
		LOG_ERR("Failed to initialize product descriptor (%d)", err);
		return NULL;
	}

	IF_ENABLED(CONFIG_HWINFO, (
		err = usbd_add_descriptor(&vinkey_usbd, &vinkey_sn);
	))
	if (err) {
		LOG_ERR("Failed to initialize SN descriptor (%d)", err);
		return NULL;
	}
	/* doc add string descriptor end */

	if (USBD_SUPPORTS_HIGH_SPEED &&
	    usbd_caps_speed(&vinkey_usbd) == USBD_SPEED_HS) {
		err = usbd_add_configuration(&vinkey_usbd, USBD_SPEED_HS,
					     &vinkey_hs_config);
		if (err) {
			LOG_ERR("Failed to add High-Speed configuration");
			return NULL;
		}

		err = usbd_register_all_classes(&vinkey_usbd, USBD_SPEED_HS, 1,
						blocklist);
		if (err) {
			LOG_ERR("Failed to add register classes");
			return NULL;
		}

		vinkey_fix_code_triple(&vinkey_usbd, USBD_SPEED_HS);
	}

	/* doc configuration register start */
	err = usbd_add_configuration(&vinkey_usbd, USBD_SPEED_FS,
				     &vinkey_fs_config);
	if (err) {
		LOG_ERR("Failed to add Full-Speed configuration");
		return NULL;
	}
	/* doc configuration register end */

	/* doc functions register start */
	err = usbd_register_all_classes(&vinkey_usbd, USBD_SPEED_FS, 1, blocklist);
	if (err) {
		LOG_ERR("Failed to add register classes");
		return NULL;
	}
	/* doc functions register end */

	vinkey_fix_code_triple(&vinkey_usbd, USBD_SPEED_FS);
	usbd_self_powered(&vinkey_usbd, attributes & USB_SCD_SELF_POWERED);

	if (msg_cb != NULL) {
		/* doc device init-and-msg start */
		err = usbd_msg_register_cb(&vinkey_usbd, msg_cb);
		if (err) {
			LOG_ERR("Failed to register message callback");
			return NULL;
		}
		/* doc device init-and-msg end */
	}

	return &vinkey_usbd;
}

struct usbd_context *vinkey_usbd_init_device(usbd_msg_cb_t msg_cb)
{
	int err;

	if (vinkey_usbd_setup_device(msg_cb) == NULL) {
		return NULL;
	}

	/* doc device init start */
	err = usbd_init(&vinkey_usbd);
	if (err) {
		LOG_ERR("Failed to initialize device support");
		return NULL;
	}
	/* doc device init end */

	return &vinkey_usbd;
}
```
